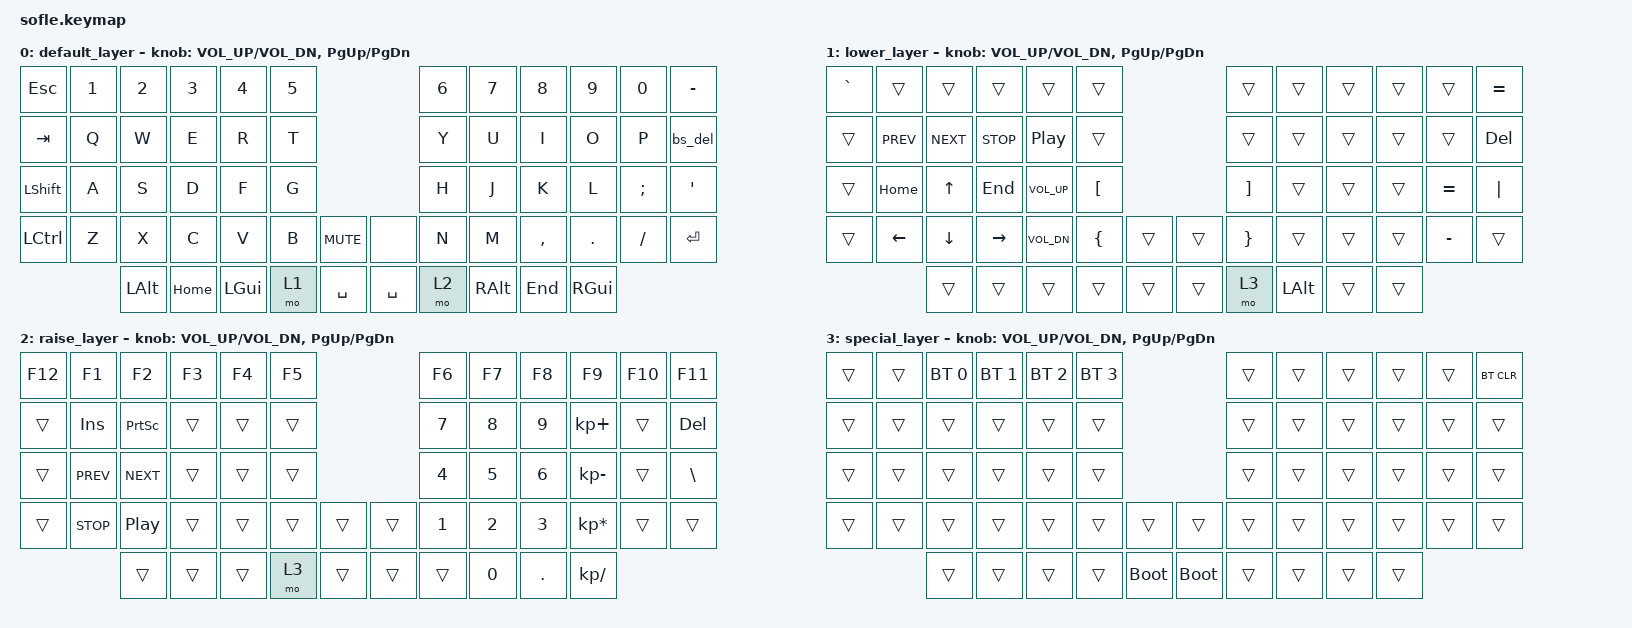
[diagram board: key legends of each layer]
/*
 * Copyright (c) 2020 The ZMK Contributors
 *
 * SPDX-License-Identifier: MIT
 */

#include <behaviors.dtsi>
#include <dt-bindings/zmk/keys.h>
#include <dt-bindings/zmk/bt.h>

/ {
    behaviors {
        bs_del: backspace_delete {
            compatible = "zmk,behavior-mod-morph";
            label = "BACKSPACE_DELETE";
            #binding-cells = <0>;
            bindings = <&kp BSPC>, <&kp DEL>;
            mods = <(MOD_LSFT)>;
        };
    };
};

/ {
    keymap {
        compatible = "zmk,keymap";

        default_layer {
// ------------------------------------------------------------------------------------------------------------
// | ESC   |  1  |  2  |  3   |  4   |  5   |                   |  6   |  7    |  8    |  9   |   0   |   -   |
// | TAB   |  Q  |  W  |  E   |  R   |  T   |                   |  Y   |  U    |  I    |  O   |   P   | BKSPC |
// | SHIFT |  A  |  S  |  D   |  F   |  G   |                   |  H   |  J    |  K    |  L   |   ;   |   '   |
// | CTRL  |  Z  |  X  |  C   |  V   |  B   |  MUTE  |  |       |  N   |  M    |  ,    |  .   |   /   | ENTER |
//               | ALT | HOME | GUI  | LOWER|  SPACE |  | SPACE | RAISE| ALT   | END   | GUI  |
            bindings = <
&kp ESC   &kp N1 &kp N2   &kp N3   &kp N4    &kp N5                      &kp N6 &kp N7    &kp N8    &kp N9   &kp N0   &kp MINUS
&kp TAB   &kp Q  &kp W    &kp E    &kp R     &kp T                       &kp Y  &kp U     &kp I     &kp O    &kp P    &bs_del
&kp LSHFT &kp A  &kp S    &kp D    &kp F     &kp G                       &kp H  &kp J     &kp K     &kp L    &kp SEMI &kp SQT
&kp LCTRL &kp Z  &kp X    &kp C    &kp V     &kp B  &kp C_MUTE &none     &kp N  &kp M     &kp COMMA &kp DOT  &kp FSLH &kp RET
                 &kp LALT &kp HOME &kp LGUI  &mo 1  &kp SPACE  &kp SPACE &mo 2  &kp RALT  &kp END   &kp RGUI
            >;

            sensor-bindings = <&inc_dec_kp C_VOL_UP C_VOL_DN &inc_dec_kp PG_UP PG_DN>;
        };

        lower_layer {
// TODO: Some binds are waiting for shifted keycode support.
// ------------------------------------------------------------------------------------------------------------
// | GRAVE |       |     |      |      |      |                   |      |       |       |      |       |   =   |
// |       |  <<   |  >> |  []  | |||> |      |                   |      |       |       |      |       |  DEL  |
// |       |  HOME |  ^  |  END | VOLUP|  [   |                   |  ]   |       |       |      |   =   |   |   |
// |       |   <   |  V  |  >   | VOLDN|  {   |        |  |       |  }   |       |       |      |   -   |       |
//                 |     |      |      |      |        |  |       |      |       |  LALT |      |
            bindings = <
&kp GRAVE &trans     &trans       &trans       &trans       &trans                    &trans    &trans     &trans  &trans    &trans    &kp EQL
&trans    &kp C_PREV &kp C_NEXT   &kp C_STOP   &kp C_PP     &trans                    &trans    &trans     &trans  &trans    &trans    &kp DEL
&trans    &kp HOME   &kp UP       &kp END      &kp C_VOL_UP &kp LBKT                  &kp RBKT  &trans     &trans  &trans    &kp EQL   &kp PIPE
&trans    &kp LEFT   &kp DOWN     &kp RIGHT    &kp C_VOL_DN &kp LBRC  &trans   &trans &kp RBRC  &trans     &trans  &trans    &kp MINUS &trans
                     &trans       &trans       &trans       &trans    &trans   &trans &mo 3    &kp LALT   &trans  &trans
            >;

            sensor-bindings = <&inc_dec_kp C_VOL_UP C_VOL_DN &inc_dec_kp PG_UP PG_DN>;
        };

        raise_layer {
// ------------------------------------------------------------------------------------------------------------
// | F12 | F1   | F2   | F3    | F4    | F5   |                | F6  | F7   | F8    | F9  | F10 | F11   |
// |     | INS  | PSCR |       |       |      |                |  7  |   8  |   9   |  +  |     |  DEL  |
// |     | <<   | >>   |       |       |      |                |  4  |   5  |   6   |  -  |     |  \    |
// |     | []   | ||/|>|       |       |      |      |  |      |  1  |   2  |   3   |  *  |     |       |
//              |      |       |       |      |      |  |      |     |   0  |   .   |  /  |
            bindings = <
&kp F12    &kp F1       &kp F2       &kp F3  &kp F4   &kp F5                   &kp F6  &kp F7  &kp F8   &kp F9          &kp F10 &kp F11
&trans     &kp INS      &kp PSCRN    &trans  &trans   &trans                   &kp N7  &kp N8  &kp N9   &kp KP_PLUS     &trans  &kp DEL
&trans     &kp C_PREV   &kp C_NEXT   &trans  &trans   &trans                   &kp N4  &kp N5  &kp N6   &kp KP_MINUS    &trans  &kp BSLH
&trans     &kp C_STOP   &kp C_PP     &trans  &trans   &trans  &trans   &trans  &kp N1  &kp N2  &kp N3   &kp KP_MULTIPLY &trans  &trans
                        &trans       &trans  &trans   &mo 3   &trans   &trans  &trans  &kp N0  &kp DOT  &kp KP_DIVIDE
            >;

            sensor-bindings = <&inc_dec_kp C_VOL_UP C_VOL_DN &inc_dec_kp PG_UP PG_DN>;
        };

        special_layer {
// ------------------------------------------------------------------------------------------------------------
// |     |       | BT0 | BT1  | BT2  | BT3  |                |     |      |       |     |     | BTCLR |
// |     |       |     |      |      |      |                |     |      |       |     |     |       |
// |     |       |     |      |      |      |                |     |      |       |     |     |       |
// |     |       |     |      |      |      |      |  |      |     |      |       |     |     |       |
//               |     |      |      |      |  BL  |  |  BL  |     |      |       |     |
            bindings = <
&trans     &trans     &bt BT_SEL 0 &bt BT_SEL 1 &bt BT_SEL 2 &bt BT_SEL 3                             &trans  &trans  &trans  &trans  &trans  &bt BT_CLR
&trans     &trans     &trans       &trans       &trans       &trans                                   &trans  &trans  &trans  &trans  &trans  &trans
&trans     &trans     &trans       &trans       &trans       &trans                                   &trans  &trans  &trans  &trans  &trans  &trans
&trans     &trans     &trans       &trans       &trans       &trans        &trans        &trans       &trans  &trans  &trans  &trans  &trans  &trans
                      &trans       &trans       &trans       &trans        &bootloader   &bootloader  &trans  &trans  &trans  &trans
            >;

            sensor-bindings = <&inc_dec_kp C_VOL_UP C_VOL_DN &inc_dec_kp PG_UP PG_DN>;
        };
    };
};
